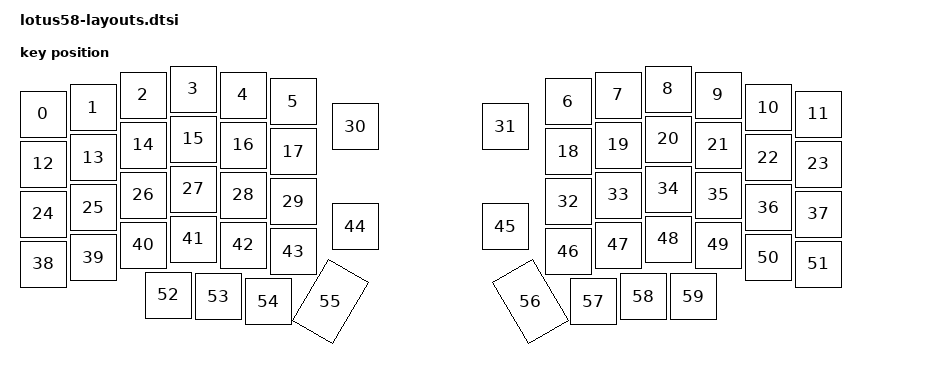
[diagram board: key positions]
#include <physical_layouts.dtsi>
#include "lotus58.overlay"

/ {
    physical_layout0: physical_layout_0 {
        compatible = "zmk,physical-layout";
        display-name = "Default";

        keys  //                     w   h    x    y     rot    rx    ry
            = <&key_physical_attrs 100 100    0   50       0     0     0>
            , <&key_physical_attrs 100 100  100   37       0     0     0>
            , <&key_physical_attrs 100 100  200   12       0     0     0>
            , <&key_physical_attrs 100 100  300    0       0     0     0>
            , <&key_physical_attrs 100 100  400   12       0     0     0>
            , <&key_physical_attrs 100 100  500   25       0     0     0>
            , <&key_physical_attrs 100 100 1050   25       0     0     0>
            , <&key_physical_attrs 100 100 1150   12       0     0     0>
            , <&key_physical_attrs 100 100 1250    0       0     0     0>
            , <&key_physical_attrs 100 100 1350   12       0     0     0>
            , <&key_physical_attrs 100 100 1450   37       0     0     0>
            , <&key_physical_attrs 100 100 1550   50       0     0     0>
            , <&key_physical_attrs 100 100    0  150       0     0     0>
            , <&key_physical_attrs 100 100  100  137       0     0     0>
            , <&key_physical_attrs 100 100  200  112       0     0     0>
            , <&key_physical_attrs 100 100  300  100       0     0     0>
            , <&key_physical_attrs 100 100  400  112       0     0     0>
            , <&key_physical_attrs 100 100  500  125       0     0     0>
            , <&key_physical_attrs 100 100 1050  125       0     0     0>
            , <&key_physical_attrs 100 100 1150  112       0     0     0>
            , <&key_physical_attrs 100 100 1250  100       0     0     0>
            , <&key_physical_attrs 100 100 1350  112       0     0     0>
            , <&key_physical_attrs 100 100 1450  137       0     0     0>
            , <&key_physical_attrs 100 100 1550  150       0     0     0>
            , <&key_physical_attrs 100 100    0  250       0     0     0>
            , <&key_physical_attrs 100 100  100  237       0     0     0>
            , <&key_physical_attrs 100 100  200  212       0     0     0>
            , <&key_physical_attrs 100 100  300  200       0     0     0>
            , <&key_physical_attrs 100 100  400  212       0     0     0>
            , <&key_physical_attrs 100 100  500  225       0     0     0>
            , <&key_physical_attrs 100 100  625   75       0     0     0>
            , <&key_physical_attrs 100 100  925   75       0     0     0>
            , <&key_physical_attrs 100 100 1050  225       0     0     0>
            , <&key_physical_attrs 100 100 1150  212       0     0     0>
            , <&key_physical_attrs 100 100 1250  200       0     0     0>
            , <&key_physical_attrs 100 100 1350  212       0     0     0>
            , <&key_physical_attrs 100 100 1450  237       0     0     0>
            , <&key_physical_attrs 100 100 1550  250       0     0     0>
            , <&key_physical_attrs 100 100    0  350       0     0     0>
            , <&key_physical_attrs 100 100  100  337       0     0     0>
            , <&key_physical_attrs 100 100  200  312       0     0     0>
            , <&key_physical_attrs 100 100  300  300       0     0     0>
            , <&key_physical_attrs 100 100  400  312       0     0     0>
            , <&key_physical_attrs 100 100  500  325       0     0     0>
            , <&key_physical_attrs 100 100  625  275       0     0     0>
            , <&key_physical_attrs 100 100  925  275       0     0     0>
            , <&key_physical_attrs 100 100 1050  325       0     0     0>
            , <&key_physical_attrs 100 100 1150  312       0     0     0>
            , <&key_physical_attrs 100 100 1250  300       0     0     0>
            , <&key_physical_attrs 100 100 1350  312       0     0     0>
            , <&key_physical_attrs 100 100 1450  337       0     0     0>
            , <&key_physical_attrs 100 100 1550  350       0     0     0>
            , <&key_physical_attrs 100 100  250  412       0     0     0>
            , <&key_physical_attrs 100 100  350  415       0     0     0>
            , <&key_physical_attrs 100 100  450  425       0     0     0>
            , <&key_physical_attrs 100 150  575  400    3000   625   475>
            , <&key_physical_attrs 100 150  975  400 (-3000)  1025   475>
            , <&key_physical_attrs 100 100 1100  425       0     0     0>
            , <&key_physical_attrs 100 100 1200  415       0     0     0>
            , <&key_physical_attrs 100 100 1300  415       0     0     0>
            ;
    };

    lotus58_position_map {
        compatible = "zmk,physical-layout-position-map";

        complete;
        
        LAYOUT {
            physical-layout = <&layout_0>;
            positions
                = < 0  1  2  3  4 5         6  7  8  9 10 11>
                , <12 13 14 15 16 17       18 19 20 21 22 23>
                , <24 25 26 27 28 29 30 31 32 33 34 35 36 37>
                , <38 39 40 41 42 43 44 45 46 47 48 49 50 51>
                , <      52 53 54 55       56 57 58 59      >; 

        };
    };
};
